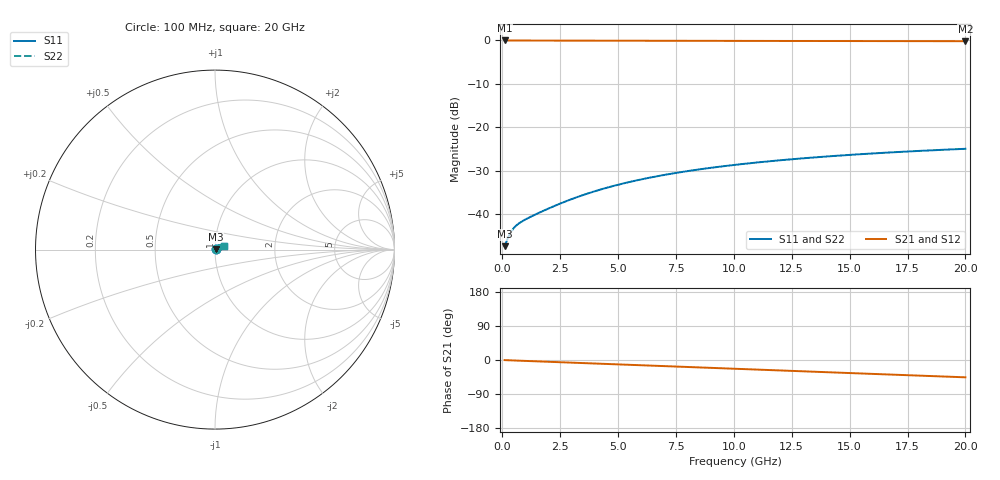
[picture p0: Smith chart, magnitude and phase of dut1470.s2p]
! Touchstone file exported from HFSS 2026.1.0
!  File:  C:/ffzhzh/LocalFiles/Ansys_Project_Files/temp_train_TMRDL_1470_1783167494_18472.aedt
!  Generated:  08:19:21 PM Jul  4, 2026
!  Design:  TMRDL
!  Project:  temp_train_TMRDL_1470_1783167494_18472
! Variables:
!  h_bsmrdl = 2um
!  h_ox = 20um
!  h_rdl = 5um
!  h_sub = 80um
!  h_tmrdl = 3.06um
!  h_tsv = 80um
!  h_via = 3um
!  l_bsmrdl = 300um
!  l_sub = 1210.29um
!  l_tmrdl = 810.29um
!  m_sub = 200um
!  pitch = 29.85um
!  r_tsv = 6um
!  s_tmrdl = 10um
!  w_bsmrdl = 18um
!  w_sub = 500um
!  w_tmrdl = 24.83um
!  x_tsv_center1 = 822.705um
!  x_tsv_center2 = 1140.705um
!  x_tsv_center3 = 1975.825um
!  x_tsv_center4 = 2293.825um
!  x_tsv_center5 = 3128.945um
!  x_tsv_center6 = 3446.945um
# GHz S MA R 50.000000
! Terminal data exported
! Port[1] = TM_RDL1_1_T1
! Port[2] = TM_RDL1_1_T2
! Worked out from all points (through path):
!   200 points, 100 MHz to 20 GHz, reference 50 ohm
!   highest |S21| = -0.04 dB at 100 MHz (marker M1); lowest = -0.2 dB at 20 GHz (marker M2)
!   group delay of S21, straight-line fit = 6.33 ps
!   lowest |S11| = -47.4 dB at 100 MHz (marker M3), VSWR 1.01, Z = 50.4 + j0.111 ohm
!   |S11| at or under -10 dB: start of sweep to end of sweep
!   |S22| runs from -47.4 to -25.0 dB; largest |S21 - S12| = 4e-15
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0.1  0.004252 15.1  0.9959 -0.3  0.9959 -0.3  0.004252 15.1
! Gamma 0 0 0 0
! Port Impedance 50 0 50 0
0.2  0.004957 24.1  0.9955 -0.5  0.9955 -0.5  0.004957 24.1
0.3  0.005711 28.2  0.995 -0.8  0.995 -0.8  0.005711 28.2
0.4  0.006365 30.1  0.9945 -1.0  0.9945 -1.0  0.006364 30.1
0.5  0.0069 31.1  0.9942 -1.3  0.9942 -1.3  0.006899 31.1
0.6  0.00734 31.8  0.9939 -1.5  0.9939 -1.5  0.007339 31.8
0.8  0.008046 33.4  0.9934 -2.0  0.9934 -2.0  0.008044 33.4
1  0.008642 35.3  0.9932 -2.4  0.9932 -2.4  0.008641 35.3
1.3  0.009486 38.3  0.9929 -3.1  0.9929 -3.1  0.009485 38.3
2.1  0.01187 45.0  0.9923 -5.0  0.9923 -5.0  0.01187 45.0
2.8  0.01416 48.6  0.9919 -6.6  0.9919 -6.6  0.01416 48.7
3.5  0.01655 50.6  0.9913 -8.2  0.9913 -8.2  0.01655 50.6
4.2  0.01896 51.4  0.9907 -9.8  0.9907 -9.8  0.01896 51.5
5  0.02168 51.4  0.99 -11.7  0.99 -11.7  0.02169 51.5
5.9  0.02467 50.7  0.9891 -13.8  0.9891 -13.8  0.02468 50.8
6.8  0.02753 49.5  0.9881 -15.8  0.9881 -15.8  0.02755 49.6
8.3  0.03201 47.0  0.9865 -19.3  0.9865 -19.3  0.03203 47.1
10.1  0.03689 43.5  0.9846 -23.4  0.9846 -23.4  0.03693 43.6
11.7  0.04082 40.3  0.983 -27.0  0.983 -27.0  0.04087 40.4
13.4  0.04461 36.8  0.9815 -30.8  0.9815 -30.8  0.04468 37.0
16.7  0.05101 30.1  0.9787 -38.3  0.9787 -38.3  0.05112 30.3
20  0.05626 23.4  0.9764 -45.7  0.9764 -45.7  0.05641 23.6
